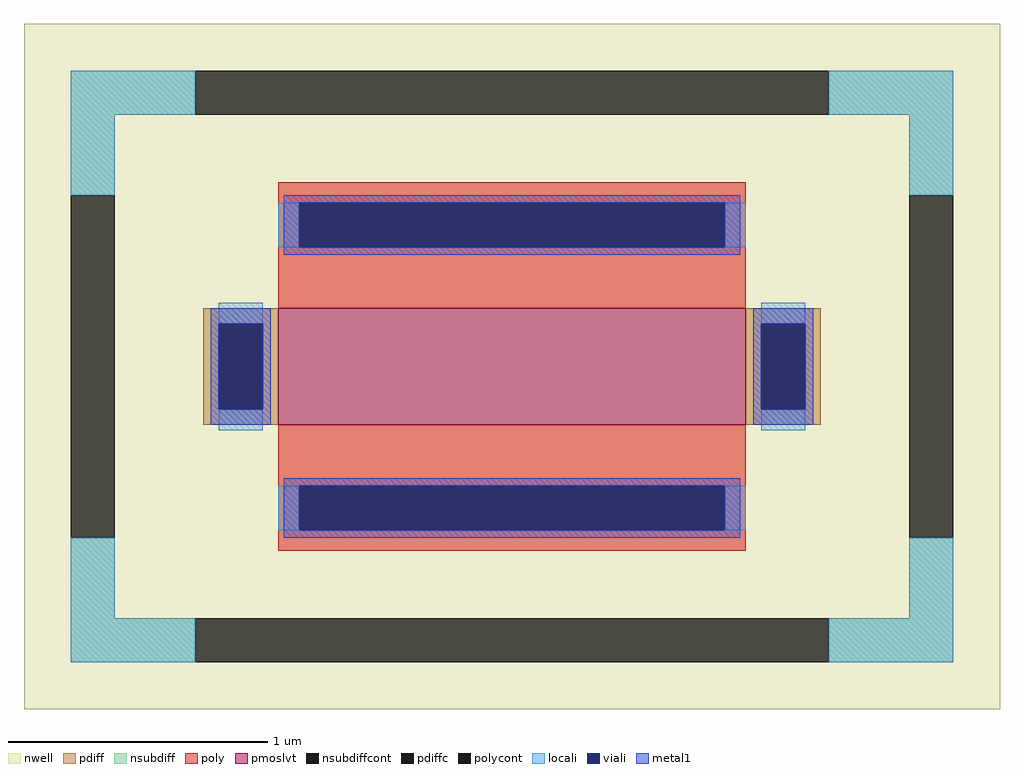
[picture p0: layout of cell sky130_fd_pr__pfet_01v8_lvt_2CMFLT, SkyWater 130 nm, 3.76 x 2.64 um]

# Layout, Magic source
magic
tech sky130A
magscale 1 2
<< nwell >>
rect -376 -264 376 264
<< pmoslvt >>
rect -180 -45 180 45
<< pdiff >>
rect -238 33 -180 45
rect -238 -33 -226 33
rect -192 -33 -180 33
rect -238 -45 -180 -33
rect 180 33 238 45
rect 180 -33 192 33
rect 226 -33 238 33
rect 180 -45 238 -33
<< pdiffc >>
rect -226 -33 -192 33
rect 192 -33 226 33
<< nsubdiff >>
rect -340 194 -244 228
rect 244 194 340 228
rect -340 132 -306 194
rect 306 132 340 194
rect -340 -194 -306 -132
rect 306 -194 340 -132
rect -340 -228 -244 -194
rect 244 -228 340 -194
<< nsubdiffcont >>
rect -244 194 244 228
rect -340 -132 -306 132
rect 306 -132 340 132
rect -244 -228 244 -194
<< poly >>
rect -180 126 180 142
rect -180 92 -164 126
rect 164 92 180 126
rect -180 45 180 92
rect -180 -92 180 -45
rect -180 -126 -164 -92
rect 164 -126 180 -92
rect -180 -142 180 -126
<< polycont >>
rect -164 92 164 126
rect -164 -126 164 -92
<< locali >>
rect -340 194 -244 228
rect 244 194 340 228
rect -340 132 -306 194
rect 306 132 340 194
rect -180 92 -164 126
rect 164 92 180 126
rect -226 33 -192 49
rect -226 -49 -192 -33
rect 192 33 226 49
rect 192 -49 226 -33
rect -180 -126 -164 -92
rect 164 -126 180 -92
rect -340 -194 -306 -132
rect 306 -194 340 -132
rect -340 -228 -244 -194
rect 244 -228 340 -194
<< viali >>
rect -164 92 164 126
rect -226 -33 -192 33
rect 192 -33 226 33
rect -164 -126 164 -92
<< metal1 >>
rect -176 126 176 132
rect -176 92 -164 126
rect 164 92 176 126
rect -176 86 176 92
rect -232 33 -186 45
rect -232 -33 -226 33
rect -192 -33 -186 33
rect -232 -45 -186 -33
rect 186 33 232 45
rect 186 -33 192 33
rect 226 -33 232 33
rect 186 -45 232 -33
rect -176 -92 176 -86
rect -176 -126 -164 -92
rect 164 -126 176 -92
rect -176 -132 176 -126
<< properties >>
string FIXED_BBOX -323 -211 323 211
string gencell sky130_fd_pr__pfet_01v8_lvt
string library sky130
string parameters w 0.45 l 1.8 m 1 nf 1 diffcov 100 polycov 100 guard 1 glc 1 grc 1 gtc 1 gbc 1 tbcov 100 rlcov 100 topc 1 botc 1 poverlap 0 doverlap 1 lmin 0.35 wmin 0.42 compatible {sky130_fd_pr__pfet_01v8  sky130_fd_pr__pfet_01v8_lvt sky130_fd_pr__pfet_01v8_hvt  sky130_fd_pr__pfet_g5v0d10v5} full_metal 1 viasrc 100 viadrn 100 viagate 100 viagb 0 viagr 0 viagl 0 viagt 0
<< end >>
